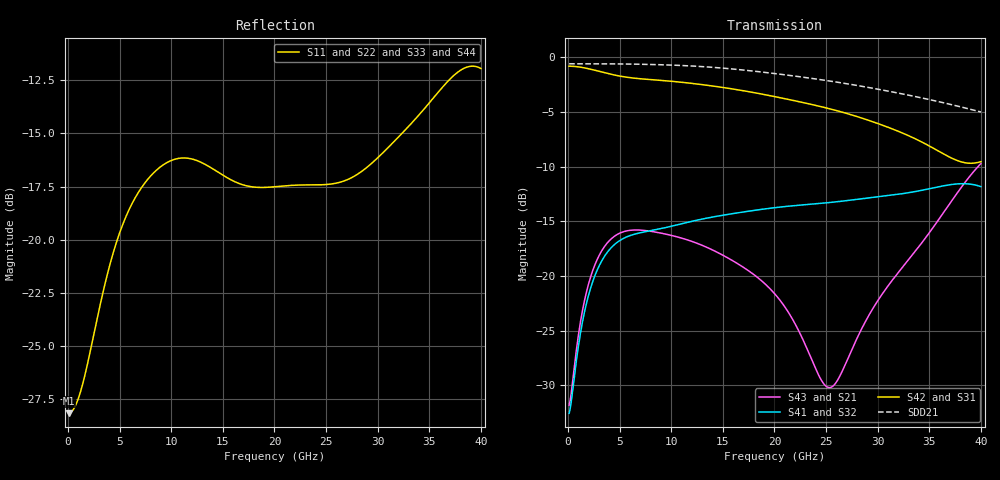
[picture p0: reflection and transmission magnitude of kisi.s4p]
! E_s8_L1L8_p1000_oval_g0: pair L1→L8, pitch 1 mm, one oval antipad, 0 GND vias
! stackup: 8-layer 1.6 mm FR-4 (generic)
! ports: 1 P near, 2 N near, 3 P far, 4 N far
! kisi-fdtd, conformal, dfine 0.035 mm, 752895 cells
# Hz S RI R 50
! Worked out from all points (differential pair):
!   400 points, 100 MHz to 40 GHz, reference 50 ohm
!   strongest paths, dB at 100 MHz, 10.1 GHz, 20.1 GHz, 30.1 GHz, 40 GHz:
!     S42: -0.8, -2.2, -3.6, -6.1, -9.5
!     S31: -0.8, -2.2, -3.6, -6.1, -9.5
!     S41: -32.6, -15.4, -13.7, -12.7, -11.8
!     S32: -32.6, -15.4, -13.7, -12.7, -11.8
!     S43: -31.8, -16.3, -21.7, -22.1, -9.7
!     S21: -31.8, -16.3, -21.7, -22.1, -9.7
!   taken as a pair (ports 2,1 in; 4,3 out), SDD21 dB: -0.6, -0.7, -1.5, -2.9, -5.0
!   lowest |S11| = -28.2 dB at 100 MHz (marker M1), VSWR 1.08, Z = 46.3 + j0.422 ohm
!   |S11| at or under -10 dB: start of sweep to end of sweep
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1e8  -0.0388 0.00455  0.0254 0.00348  0.9118 -0.0376  -0.0233 -0.00293
     0.0254 0.00348  -0.0388 0.00455  -0.0233 -0.00293  0.9118 -0.0376
     0.9118 -0.0376  -0.0233 -0.00293  -0.0388 0.00455  0.0254 0.00348
     -0.0233 -0.00293  0.9118 -0.0376  0.0254 0.00348  -0.0388 0.00455
3.7e9  0.0739 -0.033  0.1214 -0.0693  0.081 -0.8439  -0.1031 0.0732
       0.1214 -0.0693  0.0739 -0.033  -0.1031 0.0732  0.081 -0.8439
       0.081 -0.8439  -0.1031 0.0732  0.0739 -0.033  0.1214 -0.0693
       -0.1031 0.0732  0.081 -0.8439  0.1214 -0.0693  0.0739 -0.033
7.9e9  -0.1181 -0.0759  -0.1086 -0.1182  -0.7883 -0.0838  0.1216 0.1053
       -0.1086 -0.1182  -0.1181 -0.0759  0.1216 0.1053  -0.7883 -0.0838
       -0.7883 -0.0838  0.1216 0.1053  -0.1181 -0.0759  -0.1086 -0.1182
       0.1216 0.1053  -0.7883 -0.0838  -0.1086 -0.1182  -0.1181 -0.0759
1.62e10  0.1365 0.00871  0.084 0.0794  0.7098 0.0822  -0.1495 -0.1233
         0.084 0.0794  0.1365 0.00871  -0.1495 -0.1233  0.7098 0.0822
         0.7098 0.0822  -0.1495 -0.1233  0.1365 0.00871  0.084 0.0794
         -0.1495 -0.1233  0.7098 0.0822  0.084 0.0794  0.1365 0.00871
2.42e10  -0.1312 0.0302  -0.034 -0.0112  -0.5824 -0.1463  0.157 0.146
         -0.034 -0.0112  -0.1312 0.0302  0.157 0.146  -0.5824 -0.1463
         -0.5824 -0.1463  0.157 0.146  -0.1312 0.0302  -0.034 -0.0112
         0.157 0.146  -0.5824 -0.1463  -0.034 -0.0112  -0.1312 0.0302
3.25e10  0.168 -0.0631  0.0583 -0.0945  0.4302 0.1289  -0.1955 -0.1366
         0.0583 -0.0945  0.168 -0.0631  -0.1955 -0.1366  0.4302 0.1289
         0.4302 0.1289  -0.1955 -0.1366  0.168 -0.0631  0.0583 -0.0945
         -0.1955 -0.1366  0.4302 0.1289  0.0583 -0.0945  0.168 -0.0631
4e10  -0.2521 -0.0212  -0.2517 0.2087  -0.1854 -0.2775  0.239 0.0927
      -0.2517 0.2087  -0.2521 -0.0212  0.239 0.0927  -0.1854 -0.2775
      -0.1854 -0.2775  0.239 0.0927  -0.2521 -0.0212  -0.2517 0.2087
      0.239 0.0927  -0.1854 -0.2775  -0.2517 0.2087  -0.2521 -0.0212
